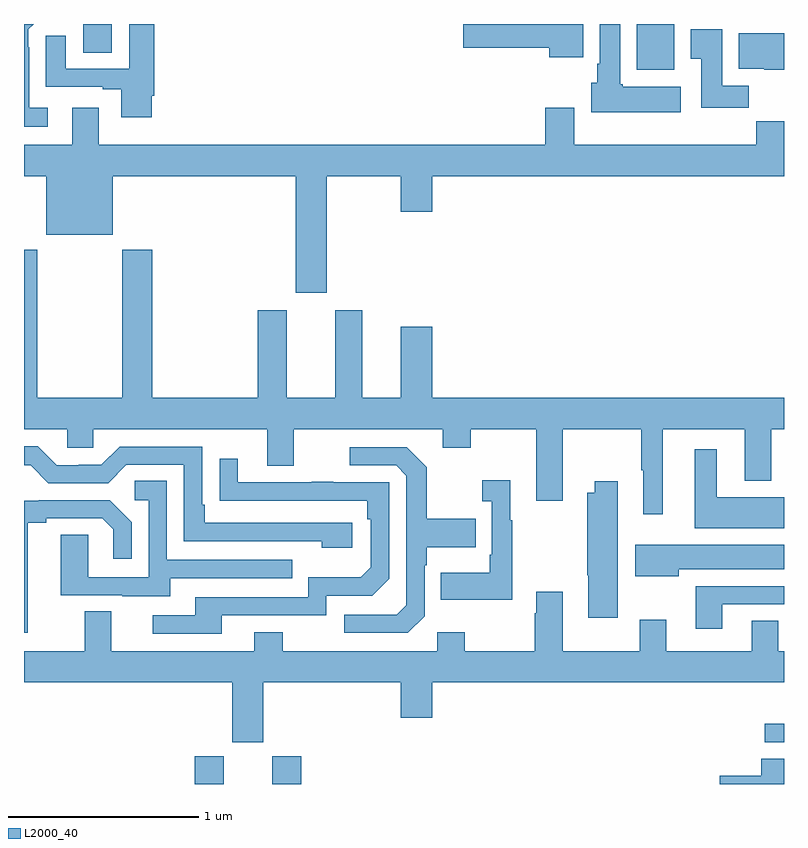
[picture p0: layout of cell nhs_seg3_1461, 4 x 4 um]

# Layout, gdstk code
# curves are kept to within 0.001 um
import gdstk
lib = gdstk.Library(unit=1e-6, precision=1e-09)
def R(c, l, rs):  # rectangles x0, y0, x1, y1
    for r in rs: c.add(gdstk.rectangle(r[:2], r[2:], *l))
def P(c, l, *ps):  # polygons
    for p in ps: c.add(gdstk.Polygon(p, *l))
L2000_40 = (2000, 40)

nhs_seg3_1461 = lib.new_cell('nhs_seg3_1461')
R(nhs_seg3_1461, L2000_40, [(187.898,680.4,188.05,680.547), (188.306,680.4,188.459,680.547), (190.899,680.619,191,680.718), (190.226,684.158,190.423,684.4), (187.313,684.25,187.462,684.4)])
P(nhs_seg3_1461, L2000_40, [(189.943,684.4),(189.312,684.4),(189.312,684.275),(189.764,684.275),(189.764,684.224),(189.943,684.224)],
  [(187.672,684.022),(187.685,684.022),(187.685,684.4),(187.553,684.4),(187.553,684.165),(187.219,684.165),(187.219,684.337),(187.115,684.337),(187.115,684.069),(187.415,684.069),(187.415,684.057),(187.511,684.057),(187.511,683.91),(187.672,683.91)],
  [(187.126,683.959),(187.027,683.959),(187.027,684.278),(187.023,684.278),(187.023,684.372),(187.051,684.4),(187,684.4),(187,683.858),(187.126,683.858)],
  [(190.456,684.07),(190.152,684.07),(190.152,684.084),(190.138,684.084),(190.138,684.4),(190.031,684.4),(190.031,684.19),(190.016,684.19),(190.016,684.09),(189.986,684.09),(189.986,683.936),(190.456,683.936)],
  [(190.814,684.076),(190.675,684.076),(190.675,684.373),(190.508,684.373),(190.508,684.217),(190.565,684.217),(190.565,683.958),(190.814,683.958)],
  [(191,684.352),(190.763,684.352),(190.763,684.164),(190.896,684.164),(190.896,684.158),(191,684.158)],
  [(188.593,683.6),(188.984,683.6),(188.984,683.412),(189.148,683.412),(189.148,683.6),(191,683.6),(191,683.888),(190.855,683.888),(190.855,683.764),(189.895,683.764),(189.895,683.959),(189.743,683.959),(189.743,683.764),(187.393,683.764),(187.393,683.959),(187.253,683.959),(187.253,683.764),(187,683.764),(187,683.6),(187.118,683.6),(187.118,683.291),(187.468,683.291),(187.468,683.6),(188.429,683.6),(188.429,682.986),(188.593,682.986)],
  [(190.363,682.268),(190.793,682.268),(190.793,681.995),(190.933,681.995),(190.933,682.268),(191,682.268),(191,682.432),(189.148,682.432),(189.148,682.807),(188.984,682.807),(188.984,682.432),(188.779,682.432),(188.779,682.894),(188.639,682.894),(188.639,682.432),(188.383,682.432),(188.383,682.894),(188.231,682.894),(188.231,682.432),(187.676,682.432),(187.676,683.212),(187.516,683.212),(187.516,682.432),(187.071,682.432),(187.071,683.212),(187,683.212),(187,682.268),(187.227,682.268),(187.227,682.17),(187.365,682.17),(187.365,682.268),(188.279,682.268),(188.279,682.074),(188.419,682.074),(188.419,682.268),(189.203,682.268),(189.203,682.169),(189.351,682.169),(189.351,682.268),(189.695,682.268),(189.695,681.891),(189.835,681.891),(189.835,682.268),(190.249,682.268),(190.249,682.052),(190.259,682.052),(190.259,681.819),(190.363,681.819)],
  [(188.728,681.774),(187.951,681.774),(187.951,681.871),(187.938,681.871),(187.938,682.176),(187.503,682.176),(187.407,682.08),(187.289,682.08),(187.289,682.077),(187.173,682.077),(187.073,682.177),(187,682.177),(187,682.077),(187.035,682.077),(187.128,681.984),(187.443,681.984),(187.539,682.08),(187.842,682.08),(187.842,681.678),(188.567,681.678),(188.567,681.644),(188.728,681.644)],
  [(189.108,681.282),(189.108,681.551),(189.121,681.551),(189.121,681.647),(189.377,681.647),(189.377,681.795),(189.121,681.795),(189.121,682.067),(189.015,682.173),(188.715,682.173),(188.715,682.077),(188.958,682.077),(189.012,682.023),(189.012,681.342),(188.961,681.291),(188.685,681.291),(188.685,681.195),(189.021,681.195)],
  [(191,681.91),(190.645,681.91),(190.645,682.162),(190.529,682.162),(190.529,681.746),(191,681.746)],
  [(188.041,681.288),(188.592,681.288),(188.592,681.39),(188.832,681.39),(188.922,681.48),(188.922,681.987),(188.627,681.987),(188.627,681.992),(188.515,681.992),(188.515,681.987),(188.125,681.987),(188.125,682.111),(188.029,682.111),(188.029,681.892),(188.806,681.891),(188.806,681.794),(188.826,681.794),(188.826,681.54),(188.773,681.487),(188.496,681.487),(188.496,681.384),(187.901,681.384),(187.901,681.288),(187.677,681.288),(187.677,681.192),(188.041,681.192)],
  [(189.571,681.787),(189.559,681.787),(189.559,682),(189.411,682),(189.411,681.887),(189.462,681.887),(189.462,681.607),(189.45,681.607),(189.45,681.511),(189.193,681.511),(189.193,681.371),(189.571,681.371)],
  [(187.771,681.483),(188.411,681.483),(188.411,681.579),(187.752,681.579),(187.752,681.995),(187.584,681.995),(187.584,681.894),(187.656,681.894),(187.656,681.489),(187.338,681.489),(187.338,681.713),(187.193,681.713),(187.193,681.393),(187.517,681.393),(187.517,681.389),(187.771,681.389)],
  [(190.126,681.994),(190.004,681.994),(190.004,681.934),(189.964,681.934),(189.964,681.499),(189.971,681.499),(189.971,681.276),(190.126,681.276)],
  [(187.021,681.776),(187.117,681.776),(187.117,681.798),(187.412,681.798),(187.469,681.741),(187.469,681.585),(187.566,681.585),(187.566,681.778),(187.45,681.894),(187.078,681.894),(187.078,681.891),(187,681.891),(187,681.195),(187.021,681.195)],
  [(190.447,681.53),(191,681.53),(191,681.658),(190.218,681.658),(190.218,681.494),(190.447,681.494)],
  [(190.675,681.345),(191,681.345),(191,681.441),(190.535,681.441),(190.535,681.216),(190.675,681.216)],
  [(191,681.1),(190.969,681.1),(190.969,681.26),(190.829,681.26),(190.829,681.1),(190.381,681.1),(190.381,681.265),(190.241,681.265),(190.241,681.1),(189.835,681.1),(189.835,681.412),(189.695,681.412),(189.695,681.299),(189.688,681.299),(189.688,681.1),(189.321,681.1),(189.321,681.199),(189.174,681.199),(189.174,681.1),(188.361,681.1),(188.361,681.199),(188.213,681.199),(188.213,681.1),(187.459,681.1),(187.459,681.308),(187.319,681.308),(187.319,681.1),(187,681.1),(187,680.936),(188.096,680.936),(188.096,680.619),(188.26,680.619),(188.26,680.936),(188.984,680.936),(188.984,680.748),(189.148,680.748),(189.148,680.936),(191,680.936)],
  [(191,680.534),(190.88,680.534),(190.88,680.444),(190.662,680.444),(190.662,680.4),(191,680.4)])

lib.write_gds('nhs_seg3_1461.gds')
